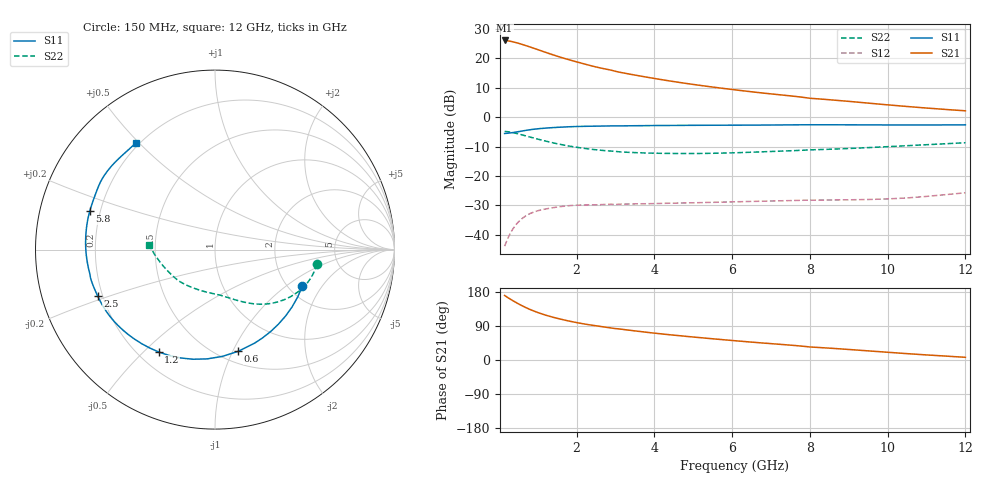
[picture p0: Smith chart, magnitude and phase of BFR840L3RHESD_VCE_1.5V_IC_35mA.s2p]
! Infineon Technologies  Discrete & RF Semiconductors
! BFR840L3RHESD
! VCE =  1.5 V,  IC =  35 mA
! Common Emitter S-Parameters:  Jun 2012
# GHz  S  MA  R  50
!  f  S11  S21  S12  S22
! GHz  MAG  ANG  MAG  ANG  MAG  ANG  MAG  ANG
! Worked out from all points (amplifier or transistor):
!   91 points, 150 MHz to 12 GHz, reference 50 ohm
!   highest |S21| = 26.1 dB at 150 MHz (marker M1)
!   |S21| within 3 dB of that: start of sweep to 976.7 MHz
!   unconditionally stable (mu >= 1): start of sweep to 397.9 MHz; 2.778 GHz to end of sweep
!   at 1.3 GHz: K = 0.67, MSG = 26.3 dB, |S12| = -31.0 dB
!   at 4.3 GHz: K = 1.46, MAG = 16.9 dB, |S12| = -29.3 dB
!   at 12 GHz: K = 3.08, MAG = 6.2 dB, |S12| = -25.7 dB
!   S11 on the Smith chart (normalised r, x): 150 MHz: 2.36, -1.34; 600 MHz: 0.61, -1.05; 1.2 GHz: 0.28, -0.56; 2.5 GHz: 0.18, -0.18; 5.8 GHz: 0.16, +0.15; 12 GHz: 0.19, +0.49
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0.15  0.5272 -22.8  20.15 170.3  0.0064 54.8  0.5726 -8.0
0.25  0.5353 -36.7  19.79 163.6  0.0092 60.1  0.5628 -14.1
0.35  0.5455 -49.7  19.19 157.3  0.0122 58.2  0.5476 -19.6
0.5  0.5659 -67.0  18.07 148.5  0.0164 53.2  0.5195 -26.9
0.6  0.5813 -77.1  17.26 143.1  0.0189 50.1  0.4993 -31.3
0.7  0.5965 -86.1  16.45 138.1  0.0211 47.5  0.4793 -35.3
0.9  0.6229 -101.3  14.85 129.3  0.0243 43.1  0.4413 -42.3
1  0.6336 -107.7  14.09 125.4  0.0256 41.2  0.4239 -45.4
1.2  0.6509 -118.8  12.68 118.6  0.0274 38.0  0.3925 -50.8
1.4  0.6645 -127.9  11.44 112.7  0.0289 35.2  0.3656 -55.4
1.7  0.6812 -138.7  9.927 105.2  0.0307 31.7  0.3327 -61.4
1.9  0.6898 -144.6  9.097 100.8  0.0316 29.8  0.3152 -65.0
2.2  0.6983 -152.2  8.027 95.1  0.0321 27.7  0.2944 -69.8
2.5  0.7032 -158.5  7.137 90.3  0.0323 26.6  0.2788 -74.2
3  0.7114 -167.2  6.025 82.9  0.0326 23.9  0.2616 -80.9
3.5  0.7148 -174.2  5.196 76.8  0.0335 24.3  0.2496 -88.0
4.2  0.7213 177.8  4.329 68.7  0.0342 24.5  0.2426 -97.6
5.8  0.7298 162.9  3.067 53.3  0.036 27.3  0.2454 -119.1
6.1  0.7306 160.5  2.901 50.6  0.0364 27.8  0.2484 -123.2
8.5  0.7422 143.7  1.979 31.3  0.039 33.5  0.2845 -153.0
10.5  0.7361 132.7  1.518 16.8  0.0423 41.7  0.3271 -172.1
12  0.7402 126.3  1.282 7.1  0.0517 46.0  0.3673 176.3
